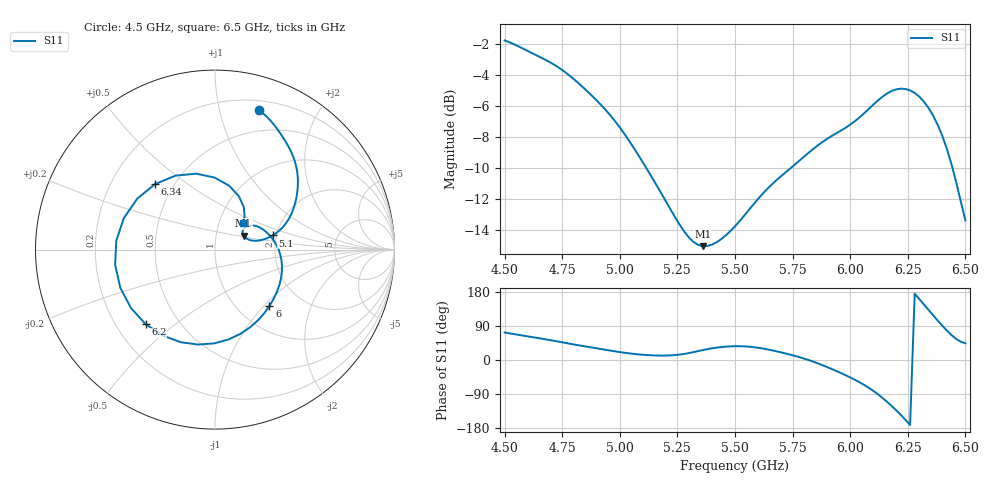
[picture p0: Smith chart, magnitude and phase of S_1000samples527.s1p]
! TOUCHSTONE file generated by CST MICROWAVE STUDIO
! Date and time: Fri Oct 28 11:32:42 2022
! Project name: L.cst
! Parameters = {Di=1.27; Epsilon_r=1.56; InnerDiameter=1.27; Length=2; Lf=10; Lg=60; OuterConductorThickness=0.2921; OuterDiameter=3.6; Wf=3; Wp=41.2; de=1.5; df=6.8; g=0.8; gx=0.569332; gy=2.87441; h=2.34; hf=1.524; px=10.4214; py=8.59012; w=9.7; wx=9.85208; wy=5.71571}
! Header version: 2018
! Port assignment regex: !\s*Touchstone port\s*([0-9]+)\s*=\s*(CST MWS port|CST DS port)\s*([0-9]+|Zmin|Zmax)\s*\(\"(.*)\"\)(\s*mode\s*([0-9]+))?.*
! Touchstone port assignment:
! Touchstone port 1 = CST MWS port 1 ("")
# GHz S DB R 50
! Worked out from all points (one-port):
!   101 points, 4.5 GHz to 6.5 GHz, reference 50 ohm
!   lowest |S11| = -15.0 dB at 5.36 GHz (marker M1), VSWR 1.43, Z = 67.9 + j11 ohm
!   |S11| at or under -10 dB: 5.115 GHz to 5.741 GHz (625.6 MHz wide, 11.5 % of centre); 6.444 GHz to end of sweep
!   S11 on the Smith chart (normalised r, x): 4.5 GHz: 0.28, +1.32; 5.1 GHz: 1.90, +0.34; 6 GHz: 1.39, -1.08; 6.2 GHz: 0.32, -0.40; 6.34 GHz: 0.40, +0.38; 6.5 GHz: 1.29, +0.41
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4.5  -1.78 72.7
4.62  -2.60 60.4
4.76  -3.79 45.5
4.88  -5.35 32.8
5  -7.37 20.9
5.1  -9.63 13.8
5.26  -13.64 14.3
5.36  -15.02 26.2
5.5  -13.74 36.4
5.64  -11.33 28.1
5.76  -9.76 10.9
5.82  -9.00 -0.3
5.9  -8.11 -18.7
6  -7.20 -46.0
6.06  -6.47 -65.6
6.12  -5.64 -90.3
6.16  -5.19 -110.3
6.2  -4.92 -133.0
6.24  -4.90 -158.1
6.26  -4.99 -171.4
6.28  -5.16 174.9
6.3  -5.40 160.9
6.34  -6.12 132.3
6.36  -6.62 118.0
6.38  -7.21 103.9
6.42  -8.77 77.4
6.46  -10.90 55.7
6.5  -13.36 44.2
